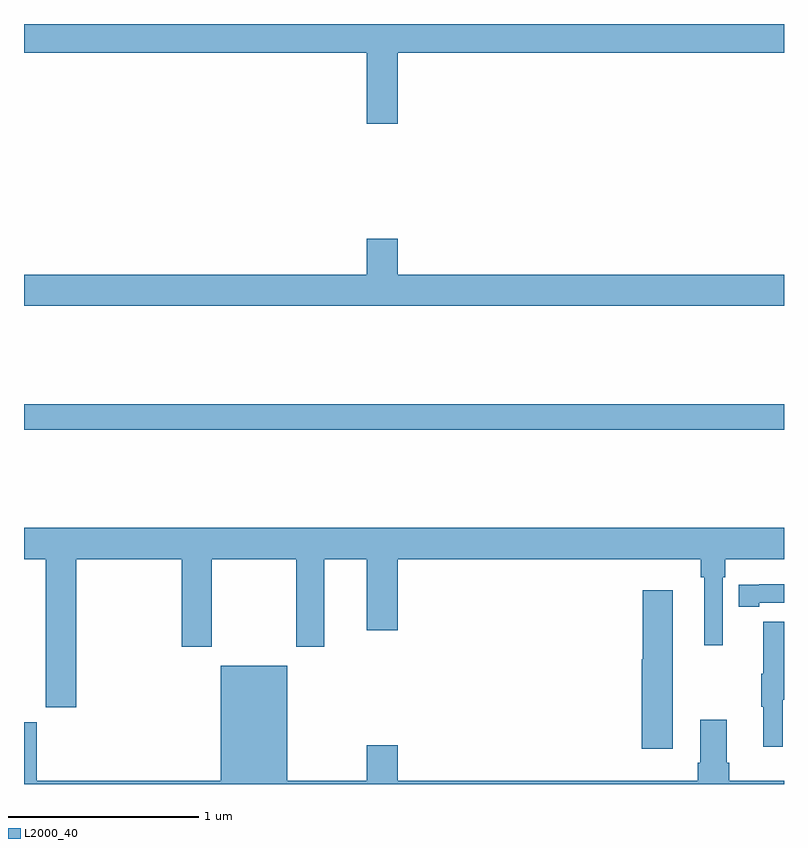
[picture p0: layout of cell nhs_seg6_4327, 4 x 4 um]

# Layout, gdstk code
import gdstk
lib = gdstk.Library(unit=1e-6, precision=1e-09)
def R(c, l, rs):  # rectangles x0, y0, x1, y1
    for r in rs: c.add(gdstk.rectangle(r[:2], r[2:], *l))
def P(c, l, *ps):  # polygons
    for p in ps: c.add(gdstk.Polygon(p, *l))
L2000_40 = (2000, 40)

nhs_seg6_4327 = lib.new_cell('nhs_seg6_4327')
R(nhs_seg6_4327, L2000_40, [(367,933.364,371,933.5)])
P(nhs_seg6_4327, L2000_40, [(368.968,935.348),(371,935.348),(371,935.5),(367,935.5),(367,935.348),(368.804,935.348),(368.804,934.974),(368.968,934.974)],
  [(371,934.18),(368.968,934.18),(368.968,934.369),(368.804,934.369),(368.804,934.18),(367,934.18),(367,934.016),(371,934.016)],
  [(367.274,932.684),(367.829,932.684),(367.829,932.223),(367.989,932.223),(367.989,932.684),(368.434,932.684),(368.434,932.223),(368.581,932.223),(368.581,932.684),(368.804,932.684),(368.804,932.31),(368.968,932.31),(368.968,932.684),(370.561,932.684),(370.561,932.588),(370.58,932.588),(370.58,932.229),(370.677,932.229),(370.677,932.588),(370.691,932.588),(370.691,932.684),(371,932.684),(371,932.848),(367,932.848),(367,932.684),(367.114,932.684),(367.114,931.905),(367.274,931.905)],
  [(370.87,932.454),(371,932.454),(371,932.551),(370.87,932.551),(370.87,932.55),(370.762,932.55),(370.762,932.434),(370.87,932.434)],
  [(370.414,932.521),(370.256,932.521),(370.256,932.157),(370.25,932.157),(370.25,931.686),(370.414,931.686)],
  [(370.994,931.944),(371,931.944),(371,932.353),(370.892,932.353),(370.892,932.081),(370.881,932.081),(370.881,931.907),(370.892,931.907),(370.892,931.695),(370.994,931.695)],
  [(371,931.516),(370.712,931.516),(370.712,931.612),(370.699,931.612),(370.699,931.837),(370.559,931.837),(370.559,931.612),(370.547,931.612),(370.547,931.516),(368.968,931.516),(368.968,931.705),(368.804,931.705),(368.804,931.516),(368.386,931.516),(368.386,932.122),(368.036,932.122),(368.036,931.516),(367.066,931.516),(367.066,931.825),(367,931.825),(367,931.5),(371,931.5)])

lib.write_gds('nhs_seg6_4327.gds')
